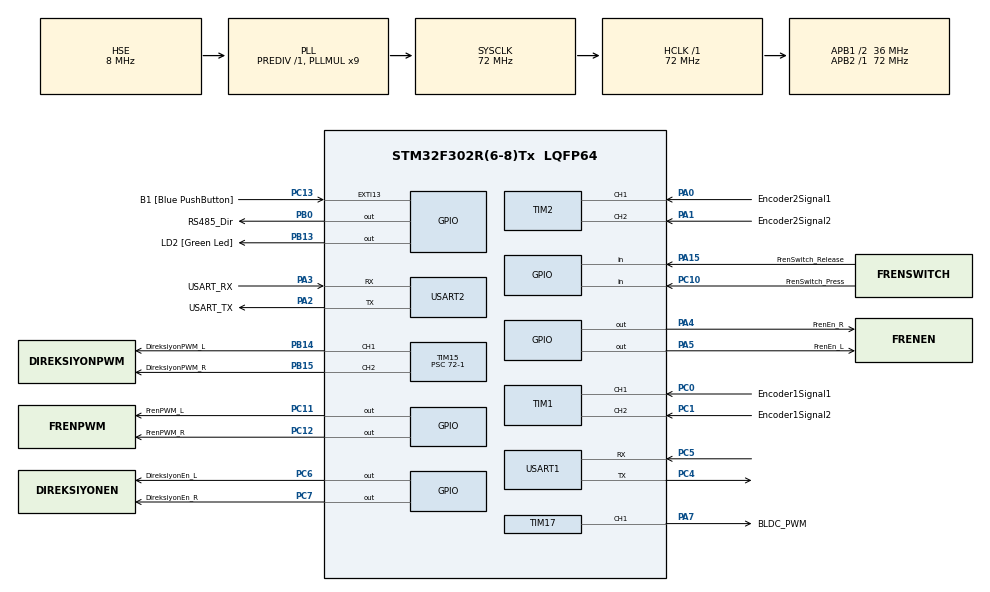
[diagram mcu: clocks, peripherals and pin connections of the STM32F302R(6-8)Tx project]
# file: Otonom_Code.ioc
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Mcu.Family=STM32F3
Mcu.Name=STM32F302R(6-8)Tx
Mcu.Package=LQFP64
NVIC.PriorityGroup=NVIC_PRIORITYGROUP_0
NVIC.TIM1_UP_TIM16_IRQn=true\:0\:2\:false\:false\:true\:true\:true\:true
NVIC.USART1_IRQn=true\:0\:0\:false\:false\:true\:true\:true\:true
PA0.GPIO_Label=Encoder2Signal1
PA0.Signal=S_TIM2_CH1_ETR
PA1.GPIO_Label=Encoder2Signal2
PA1.Signal=S_TIM2_CH2
PA13.GPIO_Label=TMS
PA13.Mode=Serial_Wire
PA13.Signal=SYS_JTMS-SWDIO
PA14.GPIO_Label=TCK
PA14.Mode=Serial_Wire
PA14.Signal=SYS_JTCK-SWCLK
PA15.GPIO_Label=FrenSwitch_Release
PA15.GPIO_PuPd=GPIO_PULLUP
PA15.Signal=GPIO_Input
PA2.GPIO_Label=USART_TX
PA2.GPIO_Mode=GPIO_MODE_AF_PP
PA2.GPIO_PuPd=GPIO_NOPULL
PA2.GPIO_Speed=GPIO_SPEED_FREQ_LOW
PA2.Mode=Asynchronous
PA2.Signal=USART2_TX
PA3.GPIO_Label=USART_RX
PA3.GPIO_Mode=GPIO_MODE_AF_PP
PA3.GPIO_PuPd=GPIO_NOPULL
PA3.GPIO_Speed=GPIO_SPEED_FREQ_LOW
PA3.Mode=Asynchronous
PA3.Signal=USART2_RX
PA4.GPIO_Label=FrenEn_R
PA4.Signal=GPIO_Output
PA5.GPIO_Label=FrenEn_L
PA5.Signal=GPIO_Output
PA7.GPIO_Label=BLDC_PWM
PA7.Signal=S_TIM17_CH1
PB0.GPIO_Label=RS485_Dir
PB0.Signal=GPIO_Output
PB13.GPIO_Label=LD2 [Green Led]
PB13.Signal=GPIO_Output
PB14.GPIO_Label=DireksiyonPWM_L
PB14.Signal=S_TIM15_CH1
PB15.GPIO_Label=DireksiyonPWM_R
PB15.Signal=S_TIM15_CH2
PB3.GPIO_Label=SWO
PB3.Mode=Trace_Asynchronous_SW
PB3.Signal=SYS_JTDO-TRACESWO
PC0.GPIO_Label=Encoder1Signal1
PC0.Signal=S_TIM1_CH1
PC1.GPIO_Label=Encoder1Signal2
PC1.Signal=S_TIM1_CH2
PC10.GPIO_Label=FrenSwitch_Press
PC10.GPIO_PuPd=GPIO_PULLUP
PC10.Signal=GPIO_Input
PC11.GPIO_Label=FrenPWM_L
PC11.Signal=GPIO_Output
PC12.GPIO_Label=FrenPWM_R
PC12.Signal=GPIO_Output
PC13.GPIO_Label=B1 [Blue PushButton]
PC13.GPIO_ModeDefaultEXTI=GPIO_MODE_IT_FALLING
PC13.Signal=GPXTI13
PC14\ -\ OSC32_IN.Mode=LSE-External-Oscillator
PC14\ -\ OSC32_IN.Signal=RCC_OSC32_IN
PC15\ -\ OSC32_OUT.Mode=LSE-External-Oscillator
PC15\ -\ OSC32_OUT.Signal=RCC_OSC32_OUT
PC4.Mode=Asynchronous
PC4.Signal=USART1_TX
PC5.Mode=Asynchronous
PC5.Signal=USART1_RX
PC6.GPIO_Label=DireksiyonEn_L
PC6.Signal=GPIO_Output
PC7.GPIO_Label=DireksiyonEn_R
PC7.Signal=GPIO_Output
PF0-OSC_IN.Mode=HSE-External-Clock-Source
PF0-OSC_IN.Signal=RCC_OSC_IN
PF1-OSC_OUT.Signal=RCC_OSC_OUT
ProjectManager.HeapSize=0x200
ProjectManager.StackSize=0x400
ProjectManager.TargetToolchain=STM32CubeIDE
RCC.AHBFreq_Value=72000000
RCC.APB1CLKDivider=RCC_HCLK_DIV2
RCC.APB1Freq_Value=36000000
RCC.APB1TimFreq_Value=72000000
RCC.APB2Freq_Value=72000000
RCC.APB2TimFreq_Value=72000000
RCC.CortexFreq_Value=72000000
RCC.HCLKFreq_Value=72000000
RCC.HSE_VALUE=8000000
RCC.HSI_VALUE=8000000
RCC.PLLM=8
RCC.PLLMUL=RCC_PLL_MUL9
RCC.PLLN=336
RCC.PLLP=RCC_PLLP_DIV4
RCC.PLLQ=7
RCC.PLLSourceVirtual=RCC_PLLSOURCE_HSE
RCC.SYSCLKFreq_VALUE=72000000
RCC.SYSCLKSourceVirtual=RCC_SYSCLKSOURCE_PLLCLK
RCC.USBFreq_Value=72000000
SH.S_TIM15_CH1.0=TIM15_CH1,PWM Generation1 CH1
SH.S_TIM15_CH2.0=TIM15_CH2,PWM Generation2 CH2
SH.S_TIM17_CH1.0=TIM17_CH1,PWM Generation1 CH1
SH.S_TIM1_CH1.0=TIM1_CH1,Encoder_Interface
SH.S_TIM1_CH2.0=TIM1_CH2,Encoder_Interface
SH.S_TIM2_CH1_ETR.0=TIM2_CH1,Encoder_Interface
SH.S_TIM2_CH2.0=TIM2_CH2,Encoder_Interface
TIM1.EncoderMode=TIM_ENCODERMODE_TI12
TIM15.Channel-PWM\ Generation1\ CH1=TIM_CHANNEL_1
TIM15.Channel-PWM\ Generation2\ CH2=TIM_CHANNEL_2
TIM15.Period=100-1
TIM15.Prescaler=72-1
TIM16.Period=100-1
TIM16.Prescaler=144-1
TIM17.Channel=TIM_CHANNEL_1
TIM17.Period=100-1
TIM17.Prescaler=72-1
TIM2.EncoderMode=TIM_ENCODERMODE_TI12
USART1.VirtualMode-Asynchronous=VM_ASYNC
USART2.VirtualMode-Asynchronous=VM_ASYNC
VP_TIM16_VS_ClockSourceINT.Mode=Enable_Timer
VP_TIM17_VS_ClockSourceINT.Mode=Enable_Timer
board=NUCLEO-F302R8

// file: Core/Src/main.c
/* USER CODE BEGIN Header */
/**
  ******************************************************************************
  * @file           : main.c
  * @brief          : Main program body
  ******************************************************************************
  * @attention
  *
  * Copyright (c) 2023 STMicroelectronics.
  * All rights reserved.
  *
  * This software is licensed under terms that can be found in the LICENSE file
  * in the root directory of this software component.
  * If no LICENSE file comes with this software, it is provided AS-IS.
  *
  ******************************************************************************
  */
/* USER CODE END Header */
#include "main.h"

/* USER CODE BEGIN Includes */
#include "wheels/wheel.h"
#include "break/break.h"
#include "bldc/bldc.h"
#include "modbus/modbus.h"
wheel_adjust_t wheelParameters = {0} ;
switchBreak_adjust_t breakParameters = {0};
int16_t counter2 = 0;
uint8_t data[]="Samet Aygun\n";
uint8_t pdata = 1;
uint16_t wantedWheelDegree = 0;
int16_t wantedSpeed=0;
modbusRegister_t ModbusRegister[MODBUS_REGISTER_NUMBER];
/* USER CODE END Includes */

TIM_HandleTypeDef htim1;
TIM_HandleTypeDef htim2;
TIM_HandleTypeDef htim15;
TIM_HandleTypeDef htim16;
TIM_HandleTypeDef htim17;

UART_HandleTypeDef huart1;
UART_HandleTypeDef huart2;

void SystemClock_Config(void);
static void MX_GPIO_Init(void);
static void MX_USART2_UART_Init(void);
static void MX_TIM1_Init(void);
static void MX_TIM2_Init(void);
static void MX_USART1_UART_Init(void);
static void MX_TIM15_Init(void);
static void MX_TIM16_Init(void);
static void MX_TIM17_Init(void);

/* USER CODE BEGIN 0 */

void HAL_TIM_PeriodElapsedCallback(TIM_HandleTypeDef *htim)
{

	if(htim->Instance == TIM16)
	{

		adjustBldc(wantedSpeed);

		//break durumunda stopBldc komutu kullanılmalı

		breakCheckSwitchStatus(&breakParameters);

		breakAdjust(&breakParameters);
		//wheel_degree = (GPIOB->IDR >> 4)&0x1FF;
		if(!HAL_GPIO_ReadPin(B1_GPIO_Port, B1_Pin)){
			__HAL_TIM_SET_COUNTER(&htim1,0);
			wheelParameters.wantedDegree = 0;
		}
		 wheelParameters.currrentDegree = ((int16_t)__HAL_TIM_GET_COUNTER(&htim1) >> 3
				 );
		counter2 = __HAL_TIM_GET_COUNTER(&htim2);

		if(wheelParameters.wantedDegree > wheelParameters.currrentDegree)
		{

			if(wheelParameters.status != TurningRight)
			{
				//Turn Wheel Right
				//Call Function that turn wheel Right
				wheelParameters.status = TurningRight;
				wheelTurnRight(&wheelParameters);
			}

		}
		else if(wheelParameters.wantedDegree < wheelParameters.currrentDegree)
		{

			if(wheelParameters.status != TurningLeft)
			{
				//Turn Wheel Left
				//Call Function that turn wheels Left
				wheelParameters.status = TurningLeft;
				wheelTurnLeft(&wheelParameters);
			}
		}
		else
		{
			//Stop Turn Right Command And Left Command
			if(wheelParameters.status != NoTurning)
			{
				//Stop Wheel
				//Call Function Stop wheels
				wheelParameters.status = NoTurning;
				wheelStop(&wheelParameters);
			}
		}

	}

}
void pointerWorks(){
	ModbusRegister[0].modbusregister = &wheelParameters.wantedDegree;
	ModbusRegister[1].modbusregister = &breakParameters.pressing_break;
	ModbusRegister[2].modbusregister = &wantedSpeed;

	ModbusRegister[3].modbusregister = &wheelParameters.currrentDegree;
	ModbusRegister[4].modbusregister = (int16_t *)breakParameters.switchStatus_press;
	ModbusRegister[5].modbusregister = (int16_t *)breakParameters.switchStatus_release;
}
/* USER CODE END 0 */

int main(void)
{

  /* MCU Configuration--------------------------------------------------------*/

  /* Reset of all peripherals, Initializes the Flash interface and the Systick. */
  HAL_Init();

  /* Configure the system clock */
  SystemClock_Config();

  /* Initialize all configured peripherals */
  MX_GPIO_Init();
  MX_USART2_UART_Init();
  MX_TIM1_Init();
  MX_TIM2_Init();
  MX_USART1_UART_Init();
  MX_TIM15_Init();
  MX_TIM16_Init();
  MX_TIM17_Init();
  /* USER CODE BEGIN 2 */
  //HAL_TIM_Encoder_Start(&htim1, TIM_CHANNEL_ALL);
  HAL_TIM_Encoder_Start_IT(&htim1, TIM_CHANNEL_ALL);
  HAL_TIM_Encoder_Start_IT(&htim2, TIM_CHANNEL_ALL);
  HAL_TIM_Base_Start_IT(&htim16);
  wheelInit();
  bldcInit();
  breakInit();
  pointerWorks();

  modbus_Init(ModbusRegister);
  /* USER CODE END 2 */

  /* Infinite loop */
  /* USER CODE BEGIN WHILE */
  while (1)
  {
	 // HAL_GPIO_WritePin(RS485_Dir_GPIO_Port, RS485_Dir_Pin, GPIO_PIN_SET);
	 // HAL_UART_Transmit(&huart1, data , sizeof(data), HAL_MAX_DELAY);
	  modbus_Loop();

    /* USER CODE END WHILE */

  }
}

void SystemClock_Config(void)
{
  RCC_OscInitTypeDef RCC_OscInitStruct = {0};
  RCC_ClkInitTypeDef RCC_ClkInitStruct = {0};
  RCC_PeriphCLKInitTypeDef PeriphClkInit = {0};

  /** Initializes the RCC Oscillators according to the specified parameters
  * in the RCC_OscInitTypeDef structure.
  */
  RCC_OscInitStruct.OscillatorType = RCC_OSCILLATORTYPE_HSE;
  RCC_OscInitStruct.HSEState = RCC_HSE_BYPASS;
  RCC_OscInitStruct.HSEPredivValue = RCC_HSE_PREDIV_DIV1;
  RCC_OscInitStruct.HSIState = RCC_HSI_ON;
  RCC_OscInitStruct.PLL.PLLState = RCC_PLL_ON;
  RCC_OscInitStruct.PLL.PLLSource = RCC_PLLSOURCE_HSE;
  RCC_OscInitStruct.PLL.PLLMUL = RCC_PLL_MUL9;
  if (HAL_RCC_OscConfig(&RCC_OscInitStruct) != HAL_OK)
  {
    Error_Handler();
  }

  /** Initializes the CPU, AHB and APB buses clocks
  */
  RCC_ClkInitStruct.ClockType = RCC_CLOCKTYPE_HCLK|RCC_CLOCKTYPE_SYSCLK
                              |RCC_CLOCKTYPE_PCLK1|RCC_CLOCKTYPE_PCLK2;
  RCC_ClkInitStruct.SYSCLKSource = RCC_SYSCLKSOURCE_PLLCLK;
  RCC_ClkInitStruct.AHBCLKDivider = RCC_SYSCLK_DIV1;
  RCC_ClkInitStruct.APB1CLKDivider = RCC_HCLK_DIV2;
  RCC_ClkInitStruct.APB2CLKDivider = RCC_HCLK_DIV1;

  if (HAL_RCC_ClockConfig(&RCC_ClkInitStruct, FLASH_LATENCY_2) != HAL_OK)
  {
    Error_Handler();
  }
  PeriphClkInit.PeriphClockSelection = RCC_PERIPHCLK_USART1|RCC_PERIPHCLK_TIM1
                              |RCC_PERIPHCLK_TIM15|RCC_PERIPHCLK_TIM16
                              |RCC_PERIPHCLK_TIM17;
  PeriphClkInit.Usart1ClockSelection = RCC_USART1CLKSOURCE_PCLK1;
  PeriphClkInit.Tim1ClockSelection = RCC_TIM1CLK_HCLK;
  PeriphClkInit.Tim15ClockSelection = RCC_TIM15CLK_HCLK;
  PeriphClkInit.Tim16ClockSelection = RCC_TIM16CLK_HCLK;
  PeriphClkInit.Tim17ClockSelection = RCC_TIM17CLK_HCLK;
  if (HAL_RCCEx_PeriphCLKConfig(&PeriphClkInit) != HAL_OK)
  {
    Error_Handler();
  }
}

static void MX_TIM1_Init(void)
{

  TIM_Encoder_InitTypeDef sConfig = {0};
  TIM_MasterConfigTypeDef sMasterConfig = {0};

  htim1.Instance = TIM1;
  htim1.Init.Prescaler = 0;
  htim1.Init.CounterMode = TIM_COUNTERMODE_UP;
  htim1.Init.Period = 65535;
  htim1.Init.ClockDivision = TIM_CLOCKDIVISION_DIV1;
  htim1.Init.RepetitionCounter = 0;
  htim1.Init.AutoReloadPreload = TIM_AUTORELOAD_PRELOAD_DISABLE;
  sConfig.EncoderMode = TIM_ENCODERMODE_TI12;
  sConfig.IC1Polarity = TIM_ICPOLARITY_RISING;
  sConfig.IC1Selection = TIM_ICSELECTION_DIRECTTI;
  sConfig.IC1Prescaler = TIM_ICPSC_DIV1;
  sConfig.IC1Filter = 0;
  sConfig.IC2Polarity = TIM_ICPOLARITY_RISING;
  sConfig.IC2Selection = TIM_ICSELECTION_DIRECTTI;
  sConfig.IC2Prescaler = TIM_ICPSC_DIV1;
  sConfig.IC2Filter = 0;
  if (HAL_TIM_Encoder_Init(&htim1, &sConfig) != HAL_OK)
  {
    Error_Handler();
  }
  sMasterConfig.MasterOutputTrigger = TIM_TRGO_RESET;
  sMasterConfig.MasterOutputTrigger2 = TIM_TRGO2_RESET;
  sMasterConfig.MasterSlaveMode = TIM_MASTERSLAVEMODE_DISABLE;
  if (HAL_TIMEx_MasterConfigSynchronization(&htim1, &sMasterConfig) != HAL_OK)
  {
    Error_Handler();
  }

}

static void MX_TIM2_Init(void)
{

  TIM_Encoder_InitTypeDef sConfig = {0};
  TIM_MasterConfigTypeDef sMasterConfig = {0};

  htim2.Instance = TIM2;
  htim2.Init.Prescaler = 0;
  htim2.Init.CounterMode = TIM_COUNTERMODE_UP;
  htim2.Init.Period = 4294967295;
  htim2.Init.ClockDivision = TIM_CLOCKDIVISION_DIV1;
  htim2.Init.AutoReloadPreload = TIM_AUTORELOAD_PRELOAD_DISABLE;
  sConfig.EncoderMode = TIM_ENCODERMODE_TI12;
  sConfig.IC1Polarity = TIM_ICPOLARITY_RISING;
  sConfig.IC1Selection = TIM_ICSELECTION_DIRECTTI;
  sConfig.IC1Prescaler = TIM_ICPSC_DIV1;
  sConfig.IC1Filter = 0;
  sConfig.IC2Polarity = TIM_ICPOLARITY_RISING;
  sConfig.IC2Selection = TIM_ICSELECTION_DIRECTTI;
  sConfig.IC2Prescaler = TIM_ICPSC_DIV1;
  sConfig.IC2Filter = 0;
  if (HAL_TIM_Encoder_Init(&htim2, &sConfig) != HAL_OK)
  {
    Error_Handler();
  }
  sMasterConfig.MasterOutputTrigger = TIM_TRGO_RESET;
  sMasterConfig.MasterSlaveMode = TIM_MASTERSLAVEMODE_DISABLE;
  if (HAL_TIMEx_MasterConfigSynchronization(&htim2, &sMasterConfig) != HAL_OK)
  {
    Error_Handler();
  }

}

static void MX_TIM15_Init(void)
{

  TIM_MasterConfigTypeDef sMasterConfig = {0};
  TIM_OC_InitTypeDef sConfigOC = {0};
  TIM_BreakDeadTimeConfigTypeDef sBreakDeadTimeConfig = {0};

  htim15.Instance = TIM15;
  htim15.Init.Prescaler = 72-1;
  htim15.Init.CounterMode = TIM_COUNTERMODE_UP;
  htim15.Init.Period = 100-1;
  htim15.Init.ClockDivision = TIM_CLOCKDIVISION_DIV1;
  htim15.Init.RepetitionCounter = 0;
  htim15.Init.AutoReloadPreload = TIM_AUTORELOAD_PRELOAD_DISABLE;
  if (HAL_TIM_PWM_Init(&htim15) != HAL_OK)
  {
    Error_Handler();
  }
  sMasterConfig.MasterOutputTrigger = TIM_TRGO_RESET;
  sMasterConfig.MasterSlaveMode = TIM_MASTERSLAVEMODE_DISABLE;
  if (HAL_TIMEx_MasterConfigSynchronization(&htim15, &sMasterConfig) != HAL_OK)
  {
    Error_Handler();
  }
  sConfigOC.OCMode = TIM_OCMODE_PWM1;
  sConfigOC.Pulse = 0;
  sConfigOC.OCPolarity = TIM_OCPOLARITY_HIGH;
  sConfigOC.OCNPolarity = TIM_OCNPOLARITY_HIGH;
  sConfigOC.OCFastMode = TIM_OCFAST_DISABLE;
  sConfigOC.OCIdleState = TIM_OCIDLESTATE_RESET;
  sConfigOC.OCNIdleState = TIM_OCNIDLESTATE_RESET;
  if (HAL_TIM_PWM_ConfigChannel(&htim15, &sConfigOC, TIM_CHANNEL_1) != HAL_OK)
  {
    Error_Handler();
  }
  if (HAL_TIM_PWM_ConfigChannel(&htim15, &sConfigOC, TIM_CHANNEL_2) != HAL_OK)
  {
    Error_Handler();
  }
  sBreakDeadTimeConfig.OffStateRunMode = TIM_OSSR_DISABLE;
  sBreakDeadTimeConfig.OffStateIDLEMode = TIM_OSSI_DISABLE;
  sBreakDeadTimeConfig.LockLevel = TIM_LOCKLEVEL_OFF;
  sBreakDeadTimeConfig.DeadTime = 0;
  sBreakDeadTimeConfig.BreakState = TIM_BREAK_DISABLE;
  sBreakDeadTimeConfig.BreakPolarity = TIM_BREAKPOLARITY_HIGH;
  sBreakDeadTimeConfig.BreakFilter = 0;
  sBreakDeadTimeConfig.AutomaticOutput = TIM_AUTOMATICOUTPUT_DISABLE;
  if (HAL_TIMEx_ConfigBreakDeadTime(&htim15, &sBreakDeadTimeConfig) != HAL_OK)
  {
    Error_Handler();
  }
  HAL_TIM_MspPostInit(&htim15);

}

static void MX_TIM16_Init(void)
{

  htim16.Instance = TIM16;
  htim16.Init.Prescaler = 144-1;
  htim16.Init.CounterMode = TIM_COUNTERMODE_UP;
  htim16.Init.Period = 100-1;
  htim16.Init.ClockDivision = TIM_CLOCKDIVISION_DIV1;
  htim16.Init.RepetitionCounter = 0;
  htim16.Init.AutoReloadPreload = TIM_AUTORELOAD_PRELOAD_DISABLE;
  if (HAL_TIM_Base_Init(&htim16) != HAL_OK)
  {
    Error_Handler();
  }

}

static void MX_TIM17_Init(void)
{

  TIM_OC_InitTypeDef sConfigOC = {0};
  TIM_BreakDeadTimeConfigTypeDef sBreakDeadTimeConfig = {0};

  htim17.Instance = TIM17;
  htim17.Init.Prescaler = 72-1;
  htim17.Init.CounterMode = TIM_COUNTERMODE_UP;
  htim17.Init.Period = 100-1;
  htim17.Init.ClockDivision = TIM_CLOCKDIVISION_DIV1;
  htim17.Init.RepetitionCounter = 0;
  htim17.Init.AutoReloadPreload = TIM_AUTORELOAD_PRELOAD_DISABLE;
  if (HAL_TIM_Base_Init(&htim17) != HAL_OK)
  {
    Error_Handler();
  }
  if (HAL_TIM_PWM_Init(&htim17) != HAL_OK)
  {
    Error_Handler();
  }
  sConfigOC.OCMode = TIM_OCMODE_PWM1;
  sConfigOC.Pulse = 0;
  sConfigOC.OCPolarity = TIM_OCPOLARITY_HIGH;
  sConfigOC.OCNPolarity = TIM_OCNPOLARITY_HIGH;
  sConfigOC.OCFastMode = TIM_OCFAST_DISABLE;
  sConfigOC.OCIdleState = TIM_OCIDLESTATE_RESET;
  sConfigOC.OCNIdleState = TIM_OCNIDLESTATE_RESET;
  if (HAL_TIM_PWM_ConfigChannel(&htim17, &sConfigOC, TIM_CHANNEL_1) != HAL_OK)
  {
    Error_Handler();
  }
  sBreakDeadTimeConfig.OffStateRunMode = TIM_OSSR_DISABLE;
  sBreakDeadTimeConfig.OffStateIDLEMode = TIM_OSSI_DISABLE;
  sBreakDeadTimeConfig.LockLevel = TIM_LOCKLEVEL_OFF;
  sBreakDeadTimeConfig.DeadTime = 0;
  sBreakDeadTimeConfig.BreakState = TIM_BREAK_DISABLE;
  sBreakDeadTimeConfig.BreakPolarity = TIM_BREAKPOLARITY_HIGH;
  sBreakDeadTimeConfig.BreakFilter = 0;
  sBreakDeadTimeConfig.AutomaticOutput = TIM_AUTOMATICOUTPUT_DISABLE;
  if (HAL_TIMEx_ConfigBreakDeadTime(&htim17, &sBreakDeadTimeConfig) != HAL_OK)
  {
    Error_Handler();
  }
  HAL_TIM_MspPostInit(&htim17);

}

static void MX_USART1_UART_Init(void)
{

  huart1.Instance = USART1;
  huart1.Init.BaudRate = 38400;
  huart1.Init.WordLength = UART_WORDLENGTH_8B;
  huart1.Init.StopBits = UART_STOPBITS_1;
  huart1.Init.Parity = UART_PARITY_NONE;
  huart1.Init.Mode = UART_MODE_TX_RX;
  huart1.Init.HwFlowCtl = UART_HWCONTROL_NONE;
  huart1.Init.OverSampling = UART_OVERSAMPLING_16;
  huart1.Init.OneBitSampling = UART_ONE_BIT_SAMPLE_DISABLE;
  huart1.AdvancedInit.AdvFeatureInit = UART_ADVFEATURE_NO_INIT;
  if (HAL_UART_Init(&huart1) != HAL_OK)
  {
    Error_Handler();
  }

}

static void MX_USART2_UART_Init(void)
{

  huart2.Instance = USART2;
  huart2.Init.BaudRate = 38400;
  huart2.Init.WordLength = UART_WORDLENGTH_8B;
  huart2.Init.StopBits = UART_STOPBITS_1;
  huart2.Init.Parity = UART_PARITY_NONE;
  huart2.Init.Mode = UART_MODE_TX_RX;
  huart2.Init.HwFlowCtl = UART_HWCONTROL_NONE;
  huart2.Init.OverSampling = UART_OVERSAMPLING_16;
  huart2.Init.OneBitSampling = UART_ONE_BIT_SAMPLE_DISABLE;
  huart2.AdvancedInit.AdvFeatureInit = UART_ADVFEATURE_NO_INIT;
  if (HAL_UART_Init(&huart2) != HAL_OK)
  {
    Error_Handler();
  }

}

static void MX_GPIO_Init(void)
{
  GPIO_InitTypeDef GPIO_InitStruct = {0};

  /* GPIO Ports Clock Enable */
  __HAL_RCC_GPIOC_CLK_ENABLE();
  __HAL_RCC_GPIOF_CLK_ENABLE();
  __HAL_RCC_GPIOA_CLK_ENABLE();
  __HAL_RCC_GPIOB_CLK_ENABLE();

  /*Configure GPIO pin Output Level */
  HAL_GPIO_WritePin(GPIOA, FrenEn_R_Pin|FrenEn_L_Pin, GPIO_PIN_RESET);

  /*Configure GPIO pin Output Level */
  HAL_GPIO_WritePin(GPIOB, RS485_Dir_Pin|LD2_Pin, GPIO_PIN_RESET);

  /*Configure GPIO pin Output Level */
  HAL_GPIO_WritePin(GPIOC, DireksiyonEn_L_Pin|DireksiyonEn_R_Pin|FrenPWM_L_Pin|FrenPWM_R_Pin, GPIO_PIN_RESET);

  /*Configure GPIO pin : B1_Pin */
  GPIO_InitStruct.Pin = B1_Pin;
  GPIO_InitStruct.Mode = GPIO_MODE_IT_FALLING;
  GPIO_InitStruct.Pull = GPIO_NOPULL;
  HAL_GPIO_Init(B1_GPIO_Port, &GPIO_InitStruct);

  /*Configure GPIO pins : FrenEn_R_Pin FrenEn_L_Pin */
  GPIO_InitStruct.Pin = FrenEn_R_Pin|FrenEn_L_Pin;
  GPIO_InitStruct.Mode = GPIO_MODE_OUTPUT_PP;
  GPIO_InitStruct.Pull = GPIO_NOPULL;
  GPIO_InitStruct.Speed = GPIO_SPEED_FREQ_LOW;
  HAL_GPIO_Init(GPIOA, &GPIO_InitStruct);

  /*Configure GPIO pins : RS485_Dir_Pin LD2_Pin */
  GPIO_InitStruct.Pin = RS485_Dir_Pin|LD2_Pin;
  GPIO_InitStruct.Mode = GPIO_MODE_OUTPUT_PP;
  GPIO_InitStruct.Pull = GPIO_NOPULL;
  GPIO_InitStruct.Speed = GPIO_SPEED_FREQ_LOW;
  HAL_GPIO_Init(GPIOB, &GPIO_InitStruct);

  /*Configure GPIO pins : DireksiyonEn_L_Pin DireksiyonEn_R_Pin FrenPWM_L_Pin FrenPWM_R_Pin */
  GPIO_InitStruct.Pin = DireksiyonEn_L_Pin|DireksiyonEn_R_Pin|FrenPWM_L_Pin|FrenPWM_R_Pin;
  GPIO_InitStruct.Mode = GPIO_MODE_OUTPUT_PP;
  GPIO_InitStruct.Pull = GPIO_NOPULL;
  GPIO_InitStruct.Speed = GPIO_SPEED_FREQ_LOW;
  HAL_GPIO_Init(GPIOC, &GPIO_InitStruct);

  /*Configure GPIO pin : FrenSwitch_Release_Pin */
  GPIO_InitStruct.Pin = FrenSwitch_Release_Pin;
  GPIO_InitStruct.Mode = GPIO_MODE_INPUT;
  GPIO_InitStruct.Pull = GPIO_PULLUP;
  HAL_GPIO_Init(FrenSwitch_Release_GPIO_Port, &GPIO_InitStruct);

  /*Configure GPIO pin : FrenSwitch_Press_Pin */
  GPIO_InitStruct.Pin = FrenSwitch_Press_Pin;
  GPIO_InitStruct.Mode = GPIO_MODE_INPUT;
  GPIO_InitStruct.Pull = GPIO_PULLUP;
  HAL_GPIO_Init(FrenSwitch_Press_GPIO_Port, &GPIO_InitStruct);

}

void Error_Handler(void)
{
  __disable_irq();
  while (1)
  {
  }
}
